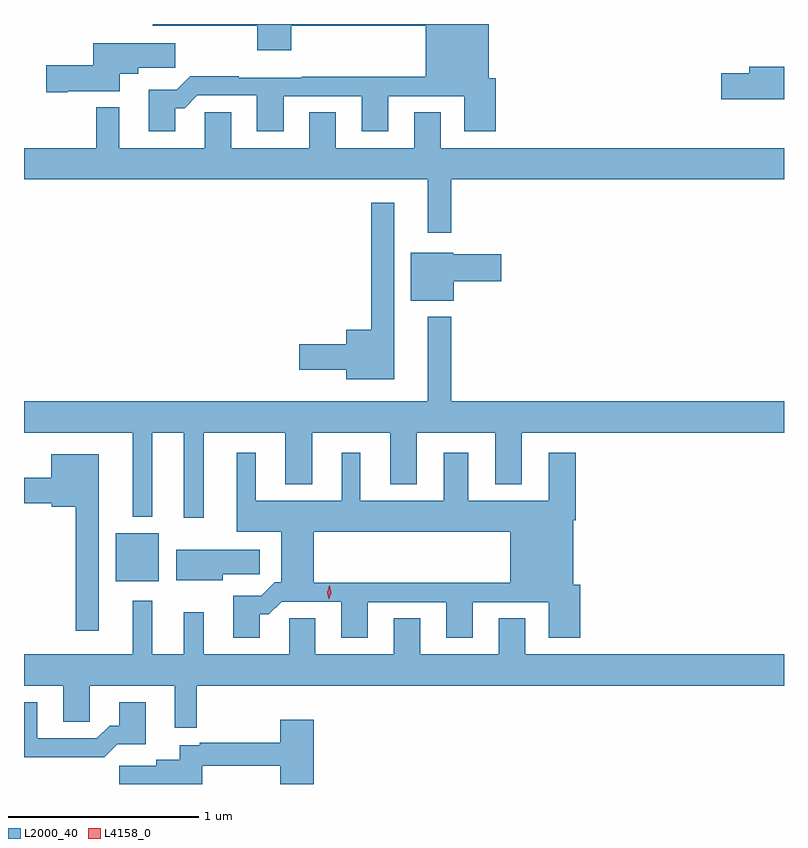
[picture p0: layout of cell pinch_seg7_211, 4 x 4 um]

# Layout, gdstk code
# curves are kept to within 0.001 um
import gdstk
lib = gdstk.Library(unit=1e-6, precision=1e-09)
def R(c, l, rs):  # rectangles x0, y0, x1, y1
    for r in rs: c.add(gdstk.rectangle(r[:2], r[2:], *l))
def P(c, l, *ps):  # polygons
    for p in ps: c.add(gdstk.Polygon(p, *l))
L2000_40 = (2000, 40)
L4158_0 = (4158, 0)

pinch_seg7_211 = lib.new_cell('pinch_seg7_211')
R(pinch_seg7_211, L2000_40, [(640.559,1051.781,640.786,1052.035)])
P(pinch_seg7_211, L2000_40, [(640.873,1054.271),(640.922,1054.271),(640.989,1054.338),(641.303,1054.338),(641.303,1054.149),(641.443,1054.149),(641.443,1054.335),(641.855,1054.335),(641.855,1054.149),(641.995,1054.149),(641.995,1054.335),(642.395,1054.335),(642.395,1054.149),(642.56,1054.149),(642.56,1054.428),(642.523,1054.428),(642.523,1054.714),(640.754,1054.714),(640.754,1054.706),(641.305,1054.706),(641.305,1054.575),(641.483,1054.575),(641.483,1054.706),(642.191,1054.706),(642.191,1054.436),(641.539,1054.436),(641.539,1054.432),(641.207,1054.432),(641.207,1054.439),(640.952,1054.439),(640.882,1054.369),(640.733,1054.369),(640.733,1054.149),(640.873,1054.149)],
  [(640.306,1054.361),(640.582,1054.361),(640.582,1054.451),(640.678,1054.451),(640.678,1054.483),(640.873,1054.483),(640.873,1054.612),(640.442,1054.612),(640.442,1054.496),(640.194,1054.496),(640.194,1054.354),(640.306,1054.354)],
  [(644.077,1054.49),(643.895,1054.49),(643.895,1054.454),(643.746,1054.454),(643.746,1054.319),(644.077,1054.319)],
  [(642.131,1054.25),(642.131,1054.06),(641.719,1054.06),(641.719,1054.25),(641.579,1054.25),(641.579,1054.06),(641.167,1054.06),(641.167,1054.25),(641.028,1054.25),(641.028,1054.06),(640.579,1054.06),(640.579,1054.276),(640.458,1054.276),(640.458,1054.06),(640.077,1054.06),(640.077,1053.896),(642.203,1053.896),(642.203,1053.615),(642.325,1053.615),(642.325,1053.896),(644.077,1053.896),(644.077,1054.06),(642.271,1054.06),(642.271,1054.25)],
  [(642.025,1053.772),(641.904,1053.772),(641.904,1053.106),(641.774,1053.106),(641.774,1053.029),(641.526,1053.029),(641.526,1052.894),(641.774,1052.894),(641.774,1052.843),(642.025,1052.843)],
  [(642.34,1053.359),(642.589,1053.359),(642.589,1053.501),(642.336,1053.501),(642.336,1053.511),(642.113,1053.511),(642.113,1053.257),(642.34,1053.257)],
  [(641.023,1052.564),(641.453,1052.564),(641.453,1052.291),(641.593,1052.291),(641.593,1052.564),(642.005,1052.564),(642.005,1052.291),(642.145,1052.291),(642.145,1052.564),(642.557,1052.564),(642.557,1052.291),(642.697,1052.291),(642.697,1052.564),(644.077,1052.564),(644.077,1052.728),(642.325,1052.728),(642.325,1053.172),(642.203,1053.172),(642.203,1052.728),(640.077,1052.728),(640.077,1052.564),(640.649,1052.564),(640.649,1052.12),(640.753,1052.12),(640.753,1052.564),(640.919,1052.564),(640.919,1052.115),(641.023,1052.115)],
  [(641.177,1051.705),(641.177,1051.485),(641.317,1051.485),(641.317,1051.607),(641.366,1051.607),(641.433,1051.674),(641.747,1051.674),(641.747,1051.485),(641.887,1051.485),(641.887,1051.671),(642.299,1051.671),(642.299,1051.485),(642.439,1051.485),(642.439,1051.671),(642.839,1051.671),(642.839,1051.485),(643.004,1051.485),(643.004,1051.764),(642.967,1051.764),(642.967,1052.102),(642.98,1052.102),(642.98,1052.458),(642.839,1052.458),(642.839,1052.206),(642.415,1052.206),(642.415,1052.458),(642.287,1052.458),(642.287,1052.206),(641.848,1052.206),(641.848,1052.458),(641.75,1052.458),(641.75,1052.206),(641.296,1052.206),(641.296,1052.458),(641.198,1052.458),(641.198,1052.042),(641.432,1052.042),(641.432,1051.775),(641.396,1051.775),(641.393,1051.772),(641.603,1051.772),(641.603,1052.042),(642.635,1052.042),(642.635,1051.772),(641.393,1051.772),(641.326,1051.705)],
  [(640.471,1052.449),(640.22,1052.449),(640.22,1052.326),(640.077,1052.326),(640.077,1052.192),(640.224,1052.192),(640.224,1052.174),(640.35,1052.174),(640.35,1051.521),(640.471,1051.521)],
  [(641.122,1051.819),(641.317,1051.819),(641.317,1051.948),(640.878,1051.948),(640.878,1051.787),(641.122,1051.787)],
  [(640.985,1051.232),(644.077,1051.232),(644.077,1051.396),(642.715,1051.396),(642.715,1051.586),(642.575,1051.586),(642.575,1051.396),(642.163,1051.396),(642.163,1051.586),(642.023,1051.586),(642.023,1051.396),(641.611,1051.396),(641.611,1051.586),(641.472,1051.586),(641.472,1051.396),(641.023,1051.396),(641.023,1051.618),(640.919,1051.618),(640.919,1051.396),(640.753,1051.396),(640.753,1051.678),(640.649,1051.678),(640.649,1051.396),(640.077,1051.396),(640.077,1051.232),(640.283,1051.232),(640.283,1051.042),(640.422,1051.042),(640.422,1051.232),(640.871,1051.232),(640.871,1051.011),(640.985,1051.011)],
  [(640.568,1050.923),(640.717,1050.923),(640.717,1051.144),(640.577,1051.144),(640.577,1051.021),(640.528,1051.021),(640.461,1050.954),(640.147,1050.954),(640.147,1051.144),(640.077,1051.144),(640.077,1050.856),(640.243,1050.856),(640.243,1050.854),(640.499,1050.854)],
  [(641.016,1050.81),(641.425,1050.81),(641.425,1050.714),(641.603,1050.714),(641.603,1051.051),(641.425,1051.051),(641.425,1050.931),(641.002,1050.931),(641.002,1050.918),(640.898,1050.918),(640.898,1050.841),(640.772,1050.841),(640.772,1050.809),(640.578,1050.809),(640.578,1050.714),(641.016,1050.714)])
P(pinch_seg7_211, L4158_0, [(641.681,1051.687),(641.681,1051.687),(641.673,1051.722),(641.684,1051.757),(641.685,1051.757),(641.685,1051.757),(641.693,1051.721),(641.681,1051.687)])

lib.write_gds('pinch_seg7_211.gds')
